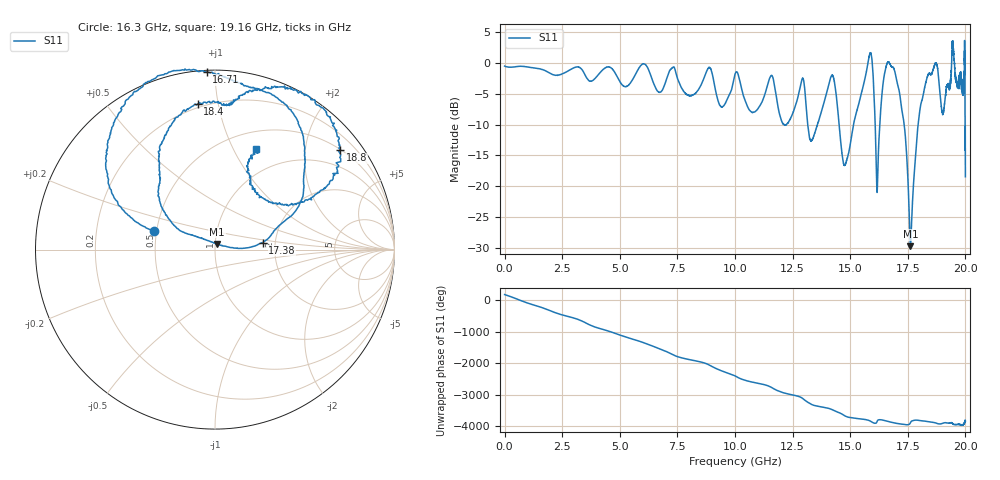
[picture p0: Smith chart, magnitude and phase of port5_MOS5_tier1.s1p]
! Created with skrf 1.8.0 (http://scikit-rf.org).
# GHz S RI R 50.0
!freq ReS11 ImS11
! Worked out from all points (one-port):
!   10001 points, 1 MHz to 20 GHz, reference 50 ohm
!   lowest |S11| = -29.7 dB at 17.62 GHz (marker M1), VSWR 1.07, Z = 51 + j3.13 ohm
!   |S11| at or under -10 dB: 13.16 GHz to 13.58 GHz (419 MHz wide, 3.13 % of centre); 14.52 GHz to 15.15 GHz (626.5 MHz wide, 4.22 % of centre); 17.35 GHz to 17.95 GHz (601.9 MHz wide, 3.41 % of centre) (the widest 3 of 9)
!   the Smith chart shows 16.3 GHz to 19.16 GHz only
!   S11 on the Smith chart (normalised r, x): 16.3 GHz: 0.48, +0.11; 16.71 GHz: 0.01, +0.95; 17.38 GHz: 1.72, +0.15; 18.4 GHz: 0.18, +0.87; 18.8 GHz: 0.52, +2.78; 19.16 GHz: 0.69, +1.23
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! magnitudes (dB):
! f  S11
! 1 MHz  -0.5
! 2.501 GHz  -1.8
! 5.001 GHz  -3.0
! 7.501 GHz  -2.5
! 8.901 GHz  -0.7
! 9.435 GHz  -7.1
! 10 GHz  -1.8
! 10.7 GHz  -7.9
! 12.5 GHz  -8.2
! 12.94 GHz  -2.5
! 13.34 GHz  -12.5
! 14.22 GHz  -2.0
! 14.71 GHz  -16.2
! 15 GHz  -13.2
! 15.85 GHz  1.5
! 16.16 GHz  -20.5
! 16.3 GHz  -9.0
! 16.71 GHz  -0.1
! 17.38 GHz  -11.4
! 17.5 GHz  -18.5
! 17.62 GHz  -29.7
! 17.99 GHz  -8.7
! 18.4 GHz  -1.8
! 18.8 GHz  -1.0
! 19.16 GHz  -4.4
! 19.49 GHz  1.4
! 19.88 GHz  -3.7
! 20 GHz  -18.5
